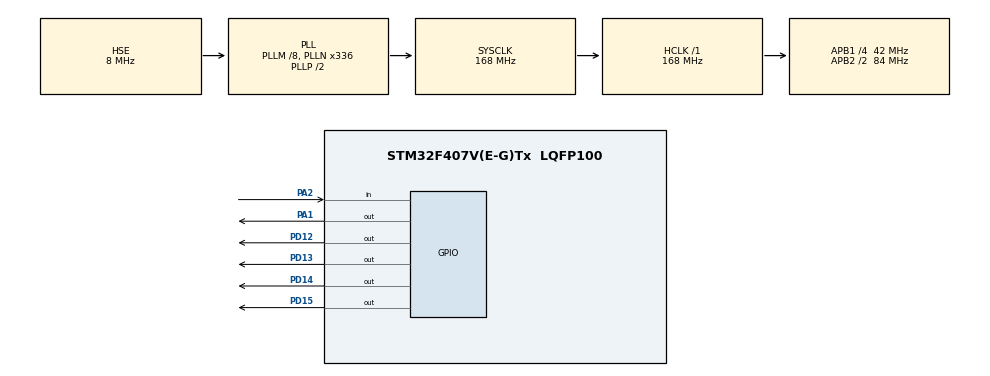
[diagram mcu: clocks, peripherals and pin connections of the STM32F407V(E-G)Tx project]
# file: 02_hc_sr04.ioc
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Mcu.Family=STM32F4
Mcu.Name=STM32F407V(E-G)Tx
Mcu.Package=LQFP100
NVIC.PriorityGroup=NVIC_PRIORITYGROUP_0
PA1.Signal=GPIO_Output
PA13.Mode=Serial_Wire
PA13.Signal=SYS_JTMS-SWDIO
PA14.Mode=Serial_Wire
PA14.Signal=SYS_JTCK-SWCLK
PA2.Signal=GPIO_Input
PD12.Signal=GPIO_Output
PD13.Signal=GPIO_Output
PD14.Signal=GPIO_Output
PD15.Signal=GPIO_Output
PH0-OSC_IN.Mode=HSE-External-Oscillator
PH0-OSC_IN.Signal=RCC_OSC_IN
PH1-OSC_OUT.Mode=HSE-External-Oscillator
PH1-OSC_OUT.Signal=RCC_OSC_OUT
ProjectManager.HeapSize=0x200
ProjectManager.StackSize=0x400
ProjectManager.TargetToolchain=STM32CubeIDE
RCC.48MHZClocksFreq_Value=48000000
RCC.AHBFreq_Value=168000000
RCC.APB1CLKDivider=RCC_HCLK_DIV4
RCC.APB1Freq_Value=42000000
RCC.APB1TimFreq_Value=84000000
RCC.APB2CLKDivider=RCC_HCLK_DIV2
RCC.APB2Freq_Value=84000000
RCC.APB2TimFreq_Value=168000000
RCC.CortexFreq_Value=168000000
RCC.HCLKFreq_Value=168000000
RCC.HSE_VALUE=8000000
RCC.HSI_VALUE=16000000
RCC.PLLM=8
RCC.PLLN=336
RCC.PLLQ=7
RCC.PLLSourceVirtual=RCC_PLLSOURCE_HSE
RCC.SYSCLKFreq_VALUE=168000000
RCC.SYSCLKSource=RCC_SYSCLKSOURCE_PLLCLK
RCC.VCOOutputFreq_Value=336000000
board=STM32F407G-DISC1

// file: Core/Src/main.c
/* USER CODE BEGIN Header */
/**
  ******************************************************************************
  * @file           : main.c
  * @brief          : Main program body
  ******************************************************************************
  * @attention
  *
  * Copyright (c) 2023 STMicroelectronics.
  * All rights reserved.
  *
  * This software is licensed under terms that can be found in the LICENSE file
  * in the root directory of this software component.
  * If no LICENSE file comes with this software, it is provided AS-IS.
  *
  ******************************************************************************
  */
/* USER CODE END Header */
#include "main.h"

/* USER CODE BEGIN Includes */
#include "dwt_stm32_delay.h"
/* USER CODE END Includes */

/* USER CODE BEGIN PV */
uint32_t time;
uint16_t distance;
/* USER CODE END PV */

void SystemClock_Config(void);
static void MX_GPIO_Init(void);

/* USER CODE BEGIN 0 */
uint32_t Read_HCSR04(){

	uint32_t local_time=0;
	HAL_GPIO_WritePin(GPIOA, GPIO_PIN_1,GPIO_PIN_SET);
	DWT_Delay_us(10);
	HAL_GPIO_WritePin(GPIOA, GPIO_PIN_1, GPIO_PIN_RESET);

	while(!HAL_GPIO_ReadPin(GPIOA, GPIO_PIN_2));

	while(HAL_GPIO_ReadPin(GPIOA, GPIO_PIN_2)){

		local_time++;
		DWT_Delay_us(1);
	}
	return local_time;
}
/* USER CODE END 0 */

int main(void)
{

  /* MCU Configuration--------------------------------------------------------*/

  /* Reset of all peripherals, Initializes the Flash interface and the Systick. */
  HAL_Init();

  /* Configure the system clock */
  SystemClock_Config();

  /* Initialize all configured peripherals */
  MX_GPIO_Init();
  /* USER CODE BEGIN 2 */
  DWT_Delay_Init();

  /* USER CODE END 2 */

  /* Infinite loop */
  while (1)
  {

    /* USER CODE BEGIN 3 */
	  time	=	Read_HCSR04();
	  distance	=	time/58;
  }
  /* USER CODE END 3 */
}

void SystemClock_Config(void)
{
  RCC_OscInitTypeDef RCC_OscInitStruct = {0};
  RCC_ClkInitTypeDef RCC_ClkInitStruct = {0};

  /** Configure the main internal regulator output voltage
  */
  __HAL_RCC_PWR_CLK_ENABLE();
  __HAL_PWR_VOLTAGESCALING_CONFIG(PWR_REGULATOR_VOLTAGE_SCALE1);

  /** Initializes the RCC Oscillators according to the specified parameters
  * in the RCC_OscInitTypeDef structure.
  */
  RCC_OscInitStruct.OscillatorType = RCC_OSCILLATORTYPE_HSE;
  RCC_OscInitStruct.HSEState = RCC_HSE_ON;
  RCC_OscInitStruct.PLL.PLLState = RCC_PLL_ON;
  RCC_OscInitStruct.PLL.PLLSource = RCC_PLLSOURCE_HSE;
  RCC_OscInitStruct.PLL.PLLM = 8;
  RCC_OscInitStruct.PLL.PLLN = 336;
  RCC_OscInitStruct.PLL.PLLP = RCC_PLLP_DIV2;
  RCC_OscInitStruct.PLL.PLLQ = 7;
  if (HAL_RCC_OscConfig(&RCC_OscInitStruct) != HAL_OK)
  {
    Error_Handler();
  }

  /** Initializes the CPU, AHB and APB buses clocks
  */
  RCC_ClkInitStruct.ClockType = RCC_CLOCKTYPE_HCLK|RCC_CLOCKTYPE_SYSCLK
                              |RCC_CLOCKTYPE_PCLK1|RCC_CLOCKTYPE_PCLK2;
  RCC_ClkInitStruct.SYSCLKSource = RCC_SYSCLKSOURCE_PLLCLK;
  RCC_ClkInitStruct.AHBCLKDivider = RCC_SYSCLK_DIV1;
  RCC_ClkInitStruct.APB1CLKDivider = RCC_HCLK_DIV4;
  RCC_ClkInitStruct.APB2CLKDivider = RCC_HCLK_DIV2;

  if (HAL_RCC_ClockConfig(&RCC_ClkInitStruct, FLASH_LATENCY_5) != HAL_OK)
  {
    Error_Handler();
  }
}

static void MX_GPIO_Init(void)
{
  GPIO_InitTypeDef GPIO_InitStruct = {0};

  /* GPIO Ports Clock Enable */
  __HAL_RCC_GPIOH_CLK_ENABLE();
  __HAL_RCC_GPIOA_CLK_ENABLE();
  __HAL_RCC_GPIOD_CLK_ENABLE();

  /*Configure GPIO pin Output Level */
  HAL_GPIO_WritePin(GPIOA, GPIO_PIN_1, GPIO_PIN_RESET);

  /*Configure GPIO pin Output Level */
  HAL_GPIO_WritePin(GPIOD, GPIO_PIN_12|GPIO_PIN_13|GPIO_PIN_14|GPIO_PIN_15, GPIO_PIN_RESET);

  /*Configure GPIO pin : PA1 */
  GPIO_InitStruct.Pin = GPIO_PIN_1;
  GPIO_InitStruct.Mode = GPIO_MODE_OUTPUT_PP;
  GPIO_InitStruct.Pull = GPIO_NOPULL;
  GPIO_InitStruct.Speed = GPIO_SPEED_FREQ_LOW;
  HAL_GPIO_Init(GPIOA, &GPIO_InitStruct);

  /*Configure GPIO pin : PA2 */
  GPIO_InitStruct.Pin = GPIO_PIN_2;
  GPIO_InitStruct.Mode = GPIO_MODE_INPUT;
  GPIO_InitStruct.Pull = GPIO_NOPULL;
  HAL_GPIO_Init(GPIOA, &GPIO_InitStruct);

  /*Configure GPIO pins : PD12 PD13 PD14 PD15 */
  GPIO_InitStruct.Pin = GPIO_PIN_12|GPIO_PIN_13|GPIO_PIN_14|GPIO_PIN_15;
  GPIO_InitStruct.Mode = GPIO_MODE_OUTPUT_PP;
  GPIO_InitStruct.Pull = GPIO_NOPULL;
  GPIO_InitStruct.Speed = GPIO_SPEED_FREQ_LOW;
  HAL_GPIO_Init(GPIOD, &GPIO_InitStruct);

}

void Error_Handler(void)
{
  __disable_irq();
  while (1)
  {
  }
}
